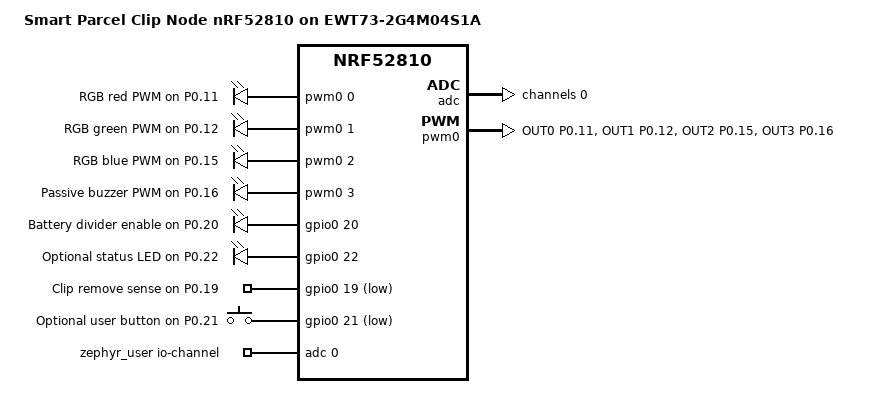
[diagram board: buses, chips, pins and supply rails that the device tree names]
/dts-v1/;
#include <nordic/nrf52810_qfaa.dtsi>
#include <zephyr/dt-bindings/adc/adc.h>
#include <zephyr/dt-bindings/adc/nrf-saadc.h>
#include <zephyr/dt-bindings/gpio/gpio.h>
#include <zephyr/dt-bindings/pinctrl/nrf-pinctrl.h>
#include <zephyr/dt-bindings/pwm/pwm.h>

/ {
	model = "Smart Parcel Clip Node nRF52810 on EWT73-2G4M04S1A";
	compatible = "smartparcel,clip-node-nrf52810";

	chosen {
		zephyr,sram = &sram0;
		zephyr,flash = &flash0;
	};

	aliases {
		watchdog0 = &wdt0;
		led-red-pwm = &led_r_pwm;
		led-green-pwm = &led_g_pwm;
		led-blue-pwm = &led_b_pwm;
		buzzer-pwm = &buzzer_pwm;
		remove-sense = &remove_sense;
		bat-adc = &zephyr_user;
		bat-div-en = &bat_div_en;
		user-btn = &user_btn;
		status-led = &status_led;
	};

	pwm_leds {
		compatible = "pwm-leds";

		led_r_pwm: led_r_pwm {
			pwms = <&pwm0 0 PWM_MSEC(1) PWM_POLARITY_NORMAL>;
			label = "RGB red PWM on P0.11";
		};

		led_g_pwm: led_g_pwm {
			pwms = <&pwm0 1 PWM_MSEC(1) PWM_POLARITY_NORMAL>;
			label = "RGB green PWM on P0.12";
		};

		led_b_pwm: led_b_pwm {
			pwms = <&pwm0 2 PWM_MSEC(1) PWM_POLARITY_NORMAL>;
			label = "RGB blue PWM on P0.15";
		};

		buzzer_pwm: buzzer_pwm {
			pwms = <&pwm0 3 PWM_USEC(370) PWM_POLARITY_NORMAL>;
			label = "Passive buzzer PWM on P0.16";
		};
	};

	clip_outputs {
		compatible = "gpio-leds";

		bat_div_en: bat_div_en {
			gpios = <&gpio0 20 GPIO_ACTIVE_HIGH>;
			label = "Battery divider enable on P0.20";
		};

		status_led: status_led {
			gpios = <&gpio0 22 GPIO_ACTIVE_HIGH>;
			label = "Optional status LED on P0.22";
		};
	};

	clip_inputs {
		compatible = "gpio-keys";

		remove_sense: remove_sense {
			gpios = <&gpio0 19 (GPIO_PULL_UP | GPIO_ACTIVE_LOW)>;
			label = "Clip remove sense on P0.19";
		};

		user_btn: user_btn {
			gpios = <&gpio0 21 (GPIO_PULL_UP | GPIO_ACTIVE_LOW)>;
			label = "Optional user button on P0.21";
		};
	};

	zephyr_user: zephyr,user {
		io-channels = <&adc 0>;
	};
};

&reg {
	regulator-initial-mode = <NRF5X_REG_MODE_DCDC>;
};

&adc {
	status = "okay";
	#address-cells = <1>;
	#size-cells = <0>;

	channel@0 {
		reg = <0>;
		zephyr,gain = "ADC_GAIN_1_6";
		zephyr,reference = "ADC_REF_INTERNAL";
		zephyr,acquisition-time = <ADC_ACQ_TIME_DEFAULT>;
		zephyr,input-positive = <NRF_SAADC_AIN0>;
	};
};

&gpiote {
	status = "okay";
};

&gpio0 {
	status = "okay";
};

&pinctrl {
	pwm0_default: pwm0_default {
		group1 {
			psels = <NRF_PSEL(PWM_OUT0, 0, 11)>,
				<NRF_PSEL(PWM_OUT1, 0, 12)>,
				<NRF_PSEL(PWM_OUT2, 0, 15)>,
				<NRF_PSEL(PWM_OUT3, 0, 16)>;
		};
	};

	pwm0_sleep: pwm0_sleep {
		group1 {
			psels = <NRF_PSEL(PWM_OUT0, 0, 11)>,
				<NRF_PSEL(PWM_OUT1, 0, 12)>,
				<NRF_PSEL(PWM_OUT2, 0, 15)>,
				<NRF_PSEL(PWM_OUT3, 0, 16)>;
			low-power-enable;
		};
	};
};

&pwm0 {
	status = "okay";
	pinctrl-0 = <&pwm0_default>;
	pinctrl-1 = <&pwm0_sleep>;
	pinctrl-names = "default", "sleep";
};

&uart0 {
	status = "disabled";
};
